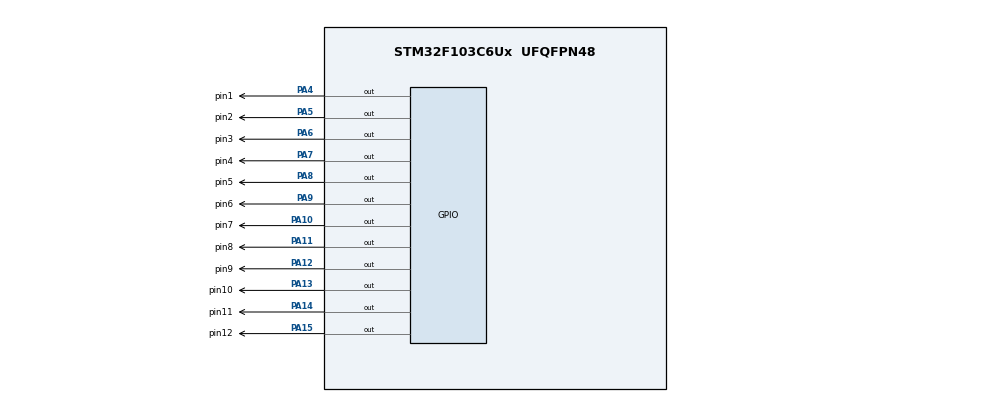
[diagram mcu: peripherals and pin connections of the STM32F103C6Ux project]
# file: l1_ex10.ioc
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Mcu.Family=STM32F1
Mcu.Name=STM32F103C6Ux
Mcu.Package=UFQFPN48
NVIC.PriorityGroup=NVIC_PRIORITYGROUP_4
PA10.GPIO_Label=pin7
PA10.Signal=GPIO_Output
PA11.GPIO_Label=pin8
PA11.Signal=GPIO_Output
PA12.GPIO_Label=pin9
PA12.Signal=GPIO_Output
PA13.GPIO_Label=pin10
PA13.Signal=GPIO_Output
PA14.GPIO_Label=pin11
PA14.Signal=GPIO_Output
PA15.GPIO_Label=pin12
PA15.PinState=GPIO_PIN_RESET
PA15.Signal=GPIO_Output
PA4.GPIO_Label=pin1
PA4.Signal=GPIO_Output
PA5.GPIO_Label=pin2
PA5.PinState=GPIO_PIN_RESET
PA5.Signal=GPIO_Output
PA6.GPIO_Label=pin3
PA6.Signal=GPIO_Output
PA7.GPIO_Label=pin4
PA7.Signal=GPIO_Output
PA8.GPIO_Label=pin5
PA8.Signal=GPIO_Output
PA9.GPIO_Label=pin6
PA9.Signal=GPIO_Output
ProjectManager.HeapSize=0x200
ProjectManager.StackSize=0x400
ProjectManager.TargetToolchain=STM32CubeIDE
RCC.APB1Freq_Value=8000000
RCC.APB2Freq_Value=8000000
VP_SYS_VS_ND.Mode=No_Debug
board=custom

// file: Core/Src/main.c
/* USER CODE BEGIN Header */
/**
  ******************************************************************************
  * @file           : main.c
  * @brief          : Main program body
  ******************************************************************************
  * @attention
  *
  * <h2><center>&copy; Copyright (c) 2025 STMicroelectronics.
  * All rights reserved.</center></h2>
  *
  * This software component is licensed by ST under BSD 3-Clause license,
  * the "License"; You may not use this file except in compliance with the
  * License. You may obtain a copy of the License at:
  *                        opensource.org/licenses/BSD-3-Clause
  *
  ******************************************************************************
  */
/* USER CODE END Header */
#include "main.h"

void SystemClock_Config(void);
static void MX_GPIO_Init(void);

int main(void)
{

  /* MCU Configuration--------------------------------------------------------*/

  /* Reset of all peripherals, Initializes the Flash interface and the Systick. */
  HAL_Init();

  /* Configure the system clock */
  SystemClock_Config();

  /* Initialize all configured peripherals */
  MX_GPIO_Init();

  /* Infinite loop */
  /* USER CODE BEGIN WHILE */

  // all LEDs active HIGH
  // all LEDs at level LOW initially

  GPIO_TypeDef* pin_port[12] ={pin12_GPIO_Port,pin1_GPIO_Port,pin2_GPIO_Port,pin3_GPIO_Port,
		  pin4_GPIO_Port,pin5_GPIO_Port,pin6_GPIO_Port,pin7_GPIO_Port,pin8_GPIO_Port,
		  pin9_GPIO_Port,pin10_GPIO_Port,pin11_GPIO_Port};

  int pin[12] = {pin12_Pin,pin1_Pin,pin2_Pin,pin3_Pin,pin4_Pin,pin5_Pin,pin6_Pin,
		  pin7_Pin,pin8_Pin,pin9_Pin,pin10_Pin,pin11_Pin};

  void setNumberOnClock(int num)
  {
	  HAL_GPIO_WritePin(pin_port[num], pin[num], SET);
  }
  void clearNumberOnClock(int num)
  {
	  HAL_GPIO_WritePin(pin_port[num], pin[num], RESET);
  }

  /*  BEGIN EX7  */
  void clearALLClock()
  {
	  for (int i=0;i<=11;i++)
	  {
		  clearNumberOnClock(i);
	  }
  }
  int ctime = 10;
//  int s=0,m=0;
  int second=12, minute=24, hour = 3;

  while (1)
  {
	  if(ctime <= 0)
	  {
		  ctime = 10;
		  second++;
		  if(second == 60)
		  {
			  minute++;
			  second=0;
		  }
		  if(minute == 60)
		  {
			  minute=0;
			  hour++;

		  }
		  if(hour==12)
		  {
			  hour=0;
		  }
		  clearALLClock();
		  setNumberOnClock(second/5);
		  setNumberOnClock(minute/5);
		  setNumberOnClock(hour%12);
	  }
	  ctime--;
	  HAL_Delay(10);
    /* USER CODE END WHILE */

  }
}

void SystemClock_Config(void)
{
  RCC_OscInitTypeDef RCC_OscInitStruct = {0};
  RCC_ClkInitTypeDef RCC_ClkInitStruct = {0};

  /** Initializes the RCC Oscillators according to the specified parameters
  * in the RCC_OscInitTypeDef structure.
  */
  RCC_OscInitStruct.OscillatorType = RCC_OSCILLATORTYPE_HSI;
  RCC_OscInitStruct.HSIState = RCC_HSI_ON;
  RCC_OscInitStruct.HSICalibrationValue = RCC_HSICALIBRATION_DEFAULT;
  RCC_OscInitStruct.PLL.PLLState = RCC_PLL_NONE;
  if (HAL_RCC_OscConfig(&RCC_OscInitStruct) != HAL_OK)
  {
    Error_Handler();
  }
  /** Initializes the CPU, AHB and APB buses clocks
  */
  RCC_ClkInitStruct.ClockType = RCC_CLOCKTYPE_HCLK|RCC_CLOCKTYPE_SYSCLK
                              |RCC_CLOCKTYPE_PCLK1|RCC_CLOCKTYPE_PCLK2;
  RCC_ClkInitStruct.SYSCLKSource = RCC_SYSCLKSOURCE_HSI;
  RCC_ClkInitStruct.AHBCLKDivider = RCC_SYSCLK_DIV1;
  RCC_ClkInitStruct.APB1CLKDivider = RCC_HCLK_DIV1;
  RCC_ClkInitStruct.APB2CLKDivider = RCC_HCLK_DIV1;

  if (HAL_RCC_ClockConfig(&RCC_ClkInitStruct, FLASH_LATENCY_0) != HAL_OK)
  {
    Error_Handler();
  }
}

static void MX_GPIO_Init(void)
{
  GPIO_InitTypeDef GPIO_InitStruct = {0};

  /* GPIO Ports Clock Enable */
  __HAL_RCC_GPIOA_CLK_ENABLE();

  /*Configure GPIO pin Output Level */
  HAL_GPIO_WritePin(GPIOA, pin1_Pin|pin2_Pin|pin3_Pin|pin4_Pin
                          |pin5_Pin|pin6_Pin|pin7_Pin|pin8_Pin
                          |pin9_Pin|pin10_Pin|pin11_Pin|pin12_Pin, GPIO_PIN_RESET);

  /*Configure GPIO pins : pin1_Pin pin2_Pin pin3_Pin pin4_Pin
                           pin5_Pin pin6_Pin pin7_Pin pin8_Pin
                           pin9_Pin pin10_Pin pin11_Pin pin12_Pin */
  GPIO_InitStruct.Pin = pin1_Pin|pin2_Pin|pin3_Pin|pin4_Pin
                          |pin5_Pin|pin6_Pin|pin7_Pin|pin8_Pin
                          |pin9_Pin|pin10_Pin|pin11_Pin|pin12_Pin;
  GPIO_InitStruct.Mode = GPIO_MODE_OUTPUT_PP;
  GPIO_InitStruct.Pull = GPIO_NOPULL;
  GPIO_InitStruct.Speed = GPIO_SPEED_FREQ_LOW;
  HAL_GPIO_Init(GPIOA, &GPIO_InitStruct);

}

void Error_Handler(void)
{
  __disable_irq();
  while (1)
  {
  }
}

/************************ (C) COPYRIGHT STMicroelectronics *****END OF FILE****/
